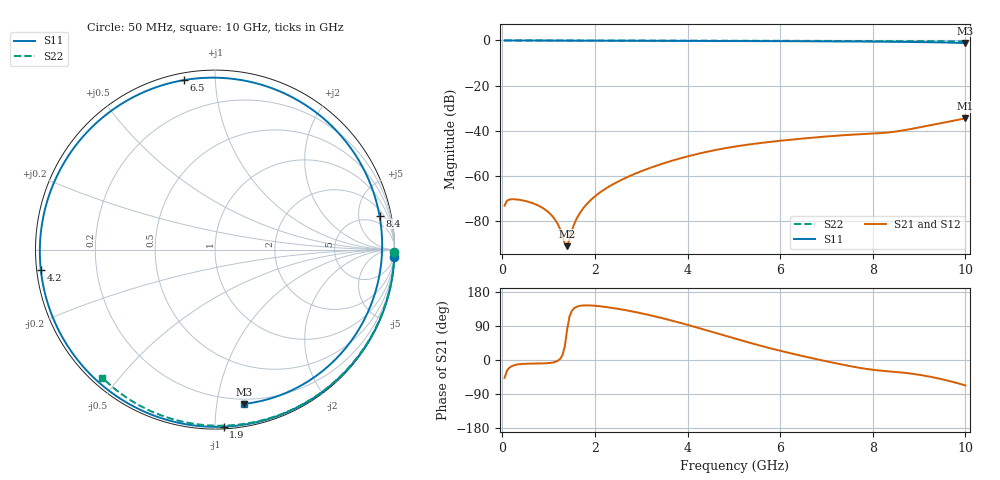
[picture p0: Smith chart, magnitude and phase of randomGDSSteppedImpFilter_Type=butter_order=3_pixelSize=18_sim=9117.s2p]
! freq	dB(S11)	phase(S11)	dB(S12)	phase(S12)
!  dB(S21)	phase(S21)	dB(S22)	phase(S22)
!S-par simulation data
#  GHz  S  DB  R 50
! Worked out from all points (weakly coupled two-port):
!   200 points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, 50 MHz to 10 GHz, reference 50 ohm
!   highest |S21| = -34.55 dB at 10 GHz (marker M1); lowest = -91.2 dB at 1.4 GHz (marker M2)
!   lowest |S11| = -1.2 dB at 10 GHz (marker M3), VSWR 15.00, Z = 8.14 - j59.7 ohm
!   |S11| at or under -10 dB: nowhere
!   |S22| runs from -0.4 to 0.0 dB; largest |S21 - S12| = 0
!   S11 on the Smith chart (normalised r, x): 50 MHz: 0, -47; 1.9 GHz: 0.01, -1.05; 4.2 GHz: 0.01, -0.06; 6.5 GHz: 0.03, +0.83; 8.4 GHz: 2.91, +8.86; 10 GHz: 0.16, -1.19
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0.05  -0.00 -2.4  -73.20 -47.1  -73.20 -47.1  -0.00 -0.8
0.15  -0.00 -7.3  -70.52 -20.7  -70.52 -20.7  -0.00 -2.3
0.5  -0.02 -24.3  -71.16 -9.9  -71.16 -9.9  -0.01 -7.6
0.9  -0.04 -43.2  -74.62 -9.0  -74.62 -9.0  -0.01 -13.6
1.15  -0.06 -54.6  -79.75 -4.8  -79.75 -4.8  -0.02 -17.3
1.4  -0.08 -65.8  -91.18 79.9  -91.18 79.9  -0.03 -21.0
1.6  -0.09 -74.5  -79.23 140.2  -79.23 140.2  -0.03 -24.0
1.75  -0.10 -80.9  -74.33 144.0  -74.33 144.0  -0.03 -26.2
1.9  -0.11 -87.2  -70.93 143.9  -70.93 143.9  -0.04 -28.4
2.6  -0.13 -115.2  -61.52 132.9  -61.52 132.9  -0.05 -38.5
3.4  -0.16 -145.0  -55.02 112.1  -55.02 112.1  -0.07 -49.9
4.2  -0.20 -173.4  -50.36 85.8  -50.36 85.8  -0.09 -60.9
5.05  -0.25 156.4  -46.94 55.6  -46.94 55.6  -0.11 -72.2
5.75  -0.30 130.4  -45.02 32.1  -45.02 32.1  -0.14 -81.2
6.5  -0.35 100.4  -43.46 10.0  -43.46 10.0  -0.17 -90.6
6.7  -0.37 92.0  -43.08 4.5  -43.08 4.5  -0.18 -93.0
7.5  -0.45 56.0  -41.82 -15.9  -41.82 -15.9  -0.23 -102.7
8.35  -0.57 14.2  -40.73 -30.1  -40.73 -30.1  -0.29 -112.6
8.4  -0.58 11.6  -40.61 -30.6  -40.61 -30.6  -0.29 -113.2
8.8  -0.66 -9.3  -39.33 -35.5  -39.33 -35.5  -0.32 -117.8
9.2  -0.77 -31.1  -37.75 -43.2  -37.75 -43.2  -0.36 -122.3
10  -1.16 -79.3  -34.55 -67.3  -34.55 -67.3  -0.44 -131.4
